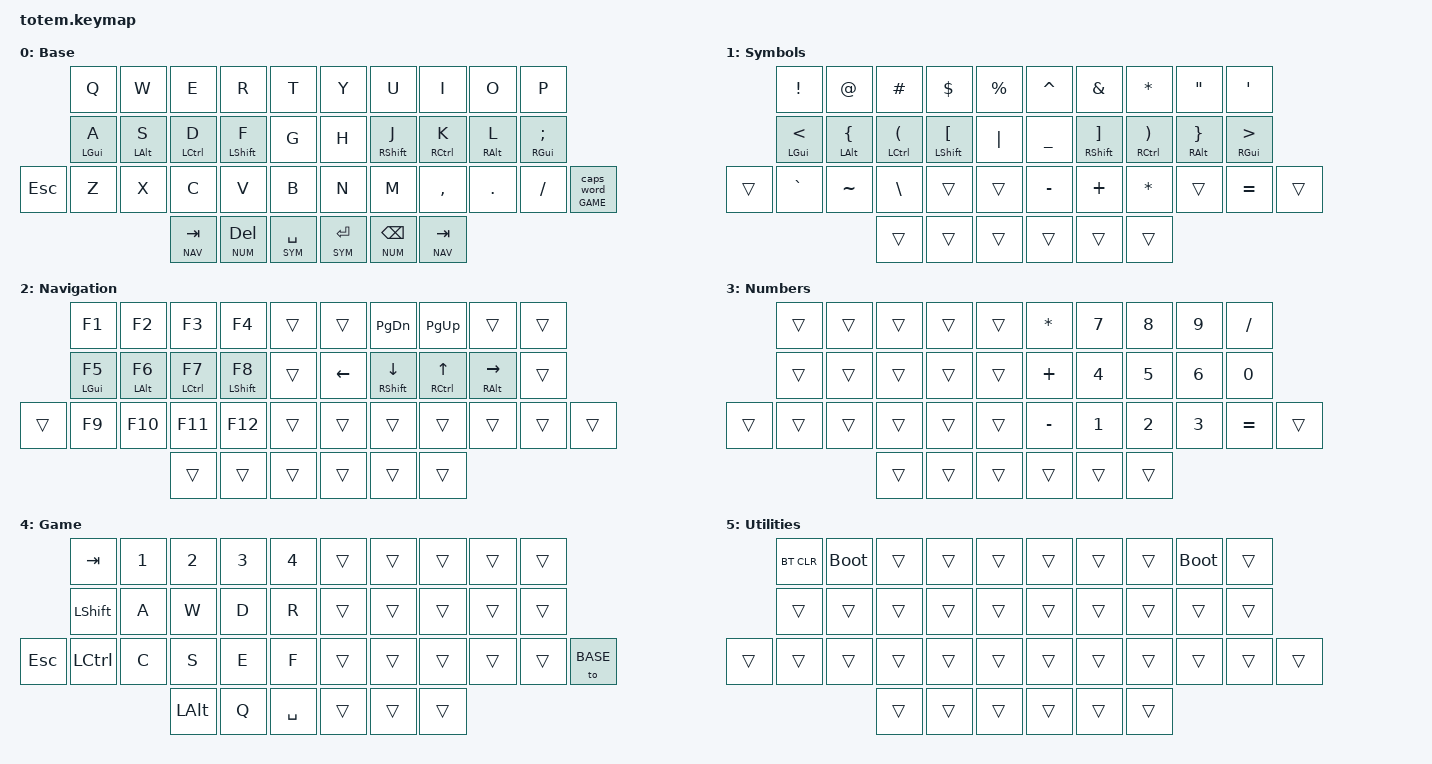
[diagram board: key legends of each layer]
//
//                                                        ▀▀▀▀▀     ▀▀▀▀▀          ▀▀█▀▀
//                                                        ▄▀▀▀▄  ▄  ▄▀▀▀▄  ▄  ▄▀▀▀▄  █  ▄▀▀▀▄
//                                                        █   █  █  █   █  █  █   █  █  █   █
//                                                         ▀▀▀   █   ▀▀▀   █   ▀▀▀   ▀   ▀▀▀
//                                                               █      ▄▄▄█▄▄▄    █   █  
//                                                               ▀      █  █  █     █▄█
//                                                             ▀▀▀▀▀    █  █  █      ▀
//                                                                      ▀  ▀  ▀
//
// ▄▄▄▄▄▄▄▄▄▄▄▄▄▄▄▄▄▄▄▄▄▄▄▄▄▄▄▄▄▄▄▄▄▄▄▄▄▄▄▄▄▄▄▄▄▄▄▄▄▄▄▄▄▄▄▄▄▄▄▄▄▄▄▄▄▄▄▄▄▄▄▄▄▄▄▄▄▄▄▄▄▄▄▄▄▄▄▄▄▄▄▄▄▄▄▄▄▄▄▄▄▄▄▄▄▄▄▄▄▄▄▄▄▄▄▄▄▄▄▄▄▄▄▄▄▄▄▄▄▄▄▄▄▄▄▄▄▄▄▄▄▄▄▄▄▄▄▄▄

#include <behaviors.dtsi>
#include <dt-bindings/zmk/keys.h>
#include <dt-bindings/zmk/bt.h>
#include <dt-bindings/zmk/outputs.h>
#include <dt-bindings/zmk/ext_power.h>

#define BASE        0
#define SYM         1
#define NAV         2  
#define NUM         3
#define GAME        4 
#define UTIL        5 

&lt {
  flavor = "balanced";
  tapping-term-ms = <160>;
  quick-tap-ms = <175>;
  require-prior-idle-ms = <125>;
};

/ {
  behaviors {
        /// Tap-hold behavior: Caps Word on tap, Layer toggle on hold
        cw_tog: caps_word_layer_toggle {
            compatible = "zmk,behavior-hold-tap";
            #binding-cells = <2>;
            flavor = "balanced";
            tapping-term-ms = <200>;
            quick-tap-ms = <175>;
            require-prior-idle-ms = <125>;
            bindings = <&tog>, <&caps_word>;
        };

        // Index fingers 
        hm_shift: homerow_mod_shift {
            compatible = "zmk,behavior-hold-tap";
            #binding-cells = <2>;
            flavor = "balanced";
            tapping-term-ms = <140>;
            quick-tap-ms = <175>;
            require-prior-idle-ms = <125>;
            bindings = <&kp>, <&kp>;
        };

        // Middle fingers
        hm_ctrl: homerow_mod_ctrl {
            compatible = "zmk,behavior-hold-tap";
            #binding-cells = <2>;
            flavor = "balanced";
            tapping-term-ms = <160>;
            quick-tap-ms = <175>;
            require-prior-idle-ms = <125>;
            bindings = <&kp>, <&kp>;
        };

        // Ring fingers
        hm_alt: homerow_mod_alt {
            compatible = "zmk,behavior-hold-tap";
            #binding-cells = <2>;
            flavor = "balanced";
            tapping-term-ms = <180>;
            quick-tap-ms = <175>;
            require-prior-idle-ms = <125>;
            bindings = <&kp>, <&kp>;
        };

        // Pinkies
        hm_meta: homerow_mod_meta {
            compatible = "zmk,behavior-hold-tap";
            #binding-cells = <2>;
            flavor = "balanced";
            tapping-term-ms = <200>;
            quick-tap-ms = <175>;
            require-prior-idle-ms = <125>;
            bindings = <&kp>, <&kp>;
        };
    };

    keymap {
        compatible = "zmk,keymap";

        base_layer {
            label = "Base";
            bindings = <
                        &kp Q            &kp W           &kp E             &kp R               &kp T                          &kp Y        &kp U               &kp I             &kp O           &kp P
                        &hm_meta LGUI A  &hm_alt LALT S  &hm_ctrl LCTRL D  &hm_shift LSHIFT F  &kp G                          &kp H        &hm_shift RSHIFT J  &hm_ctrl RCTRL K  &hm_alt RALT L  &hm_meta RGUI SEMICOLON
            &kp ESC     &kp Z            &kp X           &kp C             &kp V               &kp B                          &kp N        &kp M               &kp COMMA         &kp DOT         &kp SLASH                &cw_tog GAME 0
                                                         &lt NAV TAB       &lt NUM DEL         &lt SYM SPACE                  &lt SYM RET  &lt NUM BSPC        &lt NAV TAB
            >;
        };

        symbol_layer {
            label = "Symbols";
            bindings = <
                        &kp EXCL          &kp AT             &kp HASH             &kp DOLLAR             &kp PERCENT                    &kp CARET    &kp AMPERSAND          &kp ASTERISK         &kp DQT            &kp APOSTROPHE
                        &hm_meta LGUI LT  &hm_alt LALT LBRC  &hm_ctrl LCTRL LPAR  &hm_shift LSHIFT LBKT  &kp PIPE                       &kp UNDER    &hm_shift RSHIFT RBKT  &hm_ctrl RCTRL RPAR  &hm_alt RALT RBRC  &hm_meta RGUI GT
            &trans      &kp GRAVE         &kp TILDE          &kp BACKSLASH        &trans                 &trans                         &kp MINUS    &kp PLUS               &kp ASTERISK         &trans             &kp EQUAL         &trans
                                                             &trans               &trans                 &trans                         &trans       &trans                 &trans
            >;
        };

        nav_layer {
            label = "Navigation";
            bindings = <
                        &kp F1            &kp F2           &kp F3             &kp F4               &trans                         &trans       &kp PG_DN              &kp PG_UP          &trans              &trans
                        &hm_meta LGUI F5  &hm_alt LALT F6  &hm_ctrl LCTRL F7  &hm_shift LSHIFT F8  &trans                         &kp LEFT     &hm_shift RSHIFT DOWN  &hm_ctrl RCTRL UP  &hm_alt RALT RIGHT  &trans
            &trans      &kp F9            &kp F10          &kp F11            &kp F12              &trans                         &trans       &trans                 &trans             &trans              &trans    &trans
                                                           &trans             &trans               &trans                         &trans       &trans                 &trans
            >;
        };

        num_layer {
            label = "Numbers";
            bindings = <
                        &trans       &trans      &trans        &trans        &trans                         &kp ASTERISK &kp N7         &kp N8       &kp N9      &kp SLASH 
                        &trans       &trans      &trans        &trans        &trans                         &kp PLUS     &kp N4         &kp N5       &kp N6      &kp N0
            &trans      &trans       &trans      &trans        &trans        &trans                         &kp MINUS    &kp N1         &kp N2       &kp N3      &kp EQUAL    &trans
                                                 &trans        &trans        &trans                         &trans       &trans         &trans
            >;
        };

        game_layer {
            label = "Game";
            bindings = <
                        &kp TAB      &kp N1      &kp N2        &kp N3        &kp N4                         &trans       &trans         &trans       &trans      &trans
                        &kp LSHIFT   &kp A       &kp W         &kp D         &kp R                          &trans       &trans         &trans       &trans      &trans
            &kp ESCAPE  &kp LCTRL    &kp C       &kp S         &kp E         &kp F                          &trans       &trans         &trans       &trans      &trans      &to BASE
                                                 &kp LALT      &kp Q         &kp SPACE                      &trans       &trans         &trans
            >;
        };

        util_layer {
            label = "Utilities";
            bindings = <
                        &bt BT_CLR   &bootloader &trans        &trans        &trans                         &trans       &trans         &trans       &bootloader &trans
                        &trans       &trans      &trans        &trans        &trans                         &trans       &trans         &trans       &trans      &trans
            &trans      &trans       &trans      &trans        &trans        &trans                         &trans       &trans         &trans       &trans      &trans      &trans
                                                 &trans        &trans        &trans                         &trans       &trans         &trans
            >;
        };
    };
};
